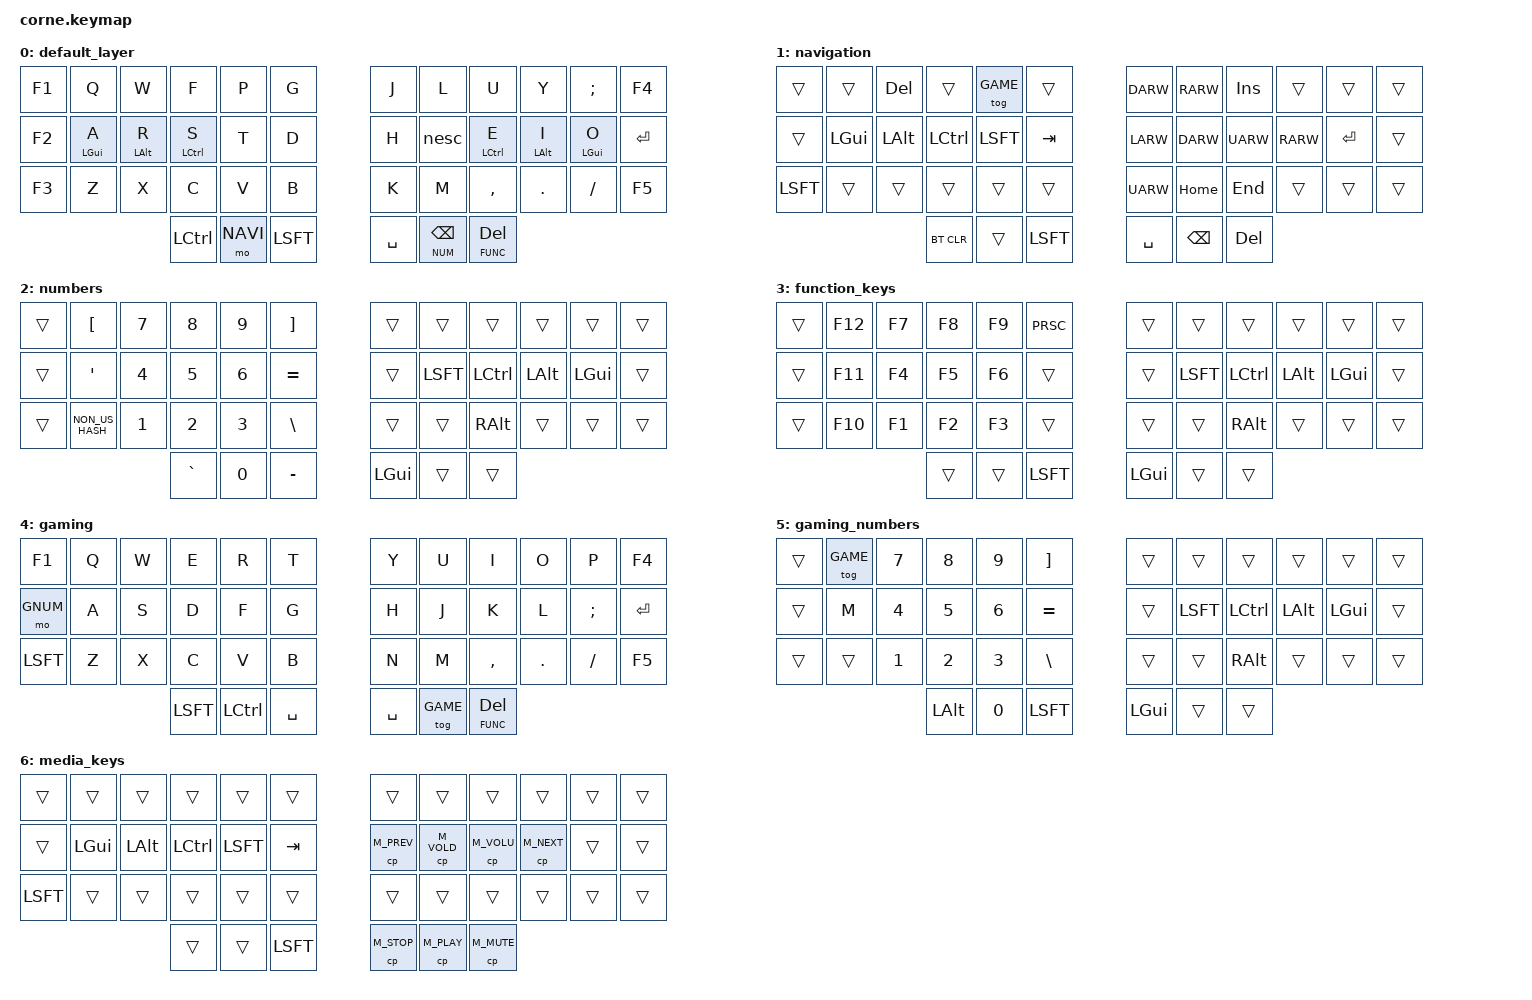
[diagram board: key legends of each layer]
/*
 * Seth's Corne/crkbd keymap using ZMK
 * Based off of miryoku
 * https://github.com/sethdwoolley/zmk-config
 *
 */

#include <behaviors.dtsi>
#include <dt-bindings/zmk/keys.h>
#include <dt-bindings/zmk/bt.h>

// Layer Definition
#define DEFAULT 0
#define NAVI 1
#define NUM 2
#define FUNC 3
#define GAME 4
#define GNUM 5
#define MEDIA 6
#define NONE 0

/ {
//  Homerow mod held behaviour 
    behaviors {
        hm: homerow_mods {
            compatible = "zmk,behavior-hold-tap";
            label = "HOMEROW_MODS";
            #binding-cells = <2>;
            tapping_term_ms = <120>;
            flavor = "tap-preferred";
            bindings = <&kp>, <&kp>;
        };
        // Double tap N for ESC
        nesc: tap_dance_0 {
            compatible = "zmk,behavior-tap-dance";
            label = "N_FOR_ESC";
            #binding-cells = <0>;
            tapping-term-ms = <200>;
            bindings = <&kp N>, <&kp ESC>;
        };
    };


// HELD on each layer shows which key(s) are being held to access that layer
// #'s signify the split

    keymap {
        compatible = "zmk,keymap";

        default_layer {
// ---------------------------------------------------------------------------------------------------------
// |  F1 |   Q    |   W    |    F   |    P    |  G   | # |  J  |      L      |      U      |    Y   |   ;    |  F4   |
// |  F2 | A/LGUI | R/LALT | S/LCTL |    T    |  D   | # |  H  |    N/ESC    |   E/LCTRL   | I/LALT | O/LGUI | ENTER |
// |  F3 |   Z    |   X    |    C   |    V    |  B   | # |  N  |      M      |      ,      |    .   |   /    |  F5   |
//                         |  LCTL  | MO NAVI | LSFT | # | SPC | LT NUM BKSP | LT FUNC DEL |

            bindings = <
&kp F1  &kp Q        &kp W      &kp F      &kp P      &kp G         &kp J    &kp L        &kp U         &kp Y        &kp SCLN     &kp F4
&kp F2  &hm LGUI A   &hm LALT R &hm LCTL S &kp T      &kp D         &kp H    &nesc        &hm LCTL E    &hm LALT I   &hm LGUI O   &kp RET
&kp F3  &kp Z        &kp X      &kp C      &kp V      &kp B         &kp K    &kp M        &kp CMMA      &kp DOT      &kp FSLH     &kp F5
                                &kp LCTL   &mo NAVI   &kp LSFT      &kp SPC  &lt NUM BKSP &lt FUNC DEL
            >;
        };

        navigation {
// ---------------------------------------------------------------------------------------
// |     |      |      |  DEL  |      | TOGGLE GAME | # | DWN | RGT  |  INSERT |       |     |     |
// |     | LGUI | LALT | LCTL  | LSFT |     TAB     | # | LF  | DWN  |   UP    |  RGT  | ENT |     |
// |     |      | RALT |       |      |             | # | UP  | HOME |   END   |       |     |     |
//                     | BTCLR | HELD |     LSFT    | # | SPC | BKSP |   DEL   |

            bindings = <
&trans     &trans    &kp DEL    &trans      &tog GAME  &trans        &kp DARW  &kp RARW  &kp INS   &trans    &trans    &trans    
&trans     &kp LGUI  &kp LALT   &kp LCTL    &kp LSFT   &kp TAB       &kp LARW  &kp DARW  &kp UARW  &kp RARW  &kp RET   &trans
&kp LSFT   &trans    &trans     &trans      &trans     &trans        &kp UARW  &kp HOME  &kp END   &trans    &trans    &trans
                                &bt BT_CLR  &trans     &kp LSFT      &kp SPC   &kp BKSP  &kp DEL
            >;  
        };

        numbers {
// ---------------------------------------------------------------------------------
// |     |  [{ |  7  |  8  |  9  |  ]}  | # |     |      |      |      |      |     |
// |     |  '@ |  4  |  5  |  6  |  =+  | # |     |  SFT | CTRL | LALT | LGUI |     |
// |     |  #~ |  1  |  2  |  3  |  \|  | # |     |      |      | RALT |      |     | 
//                   |  `  |  0  |  -_  | # | WIN | HELD |      |

            bindings = <
&trans    &kp LBKT        &kp N7    &kp N8    &kp N9    &kp RBKT      &trans    &trans   &trans    &trans    &trans    &trans    
&trans    &kp QUOT        &kp N4    &kp N5    &kp N6    &kp EQL       &trans    &kp LSFT  &kp LCTL &kp LALT  &kp LGUI  &trans
&trans    &kp NON_US_HASH &kp N1    &kp N2    &kp N3    &kp BSLH      &trans    &trans   &kp RALT  &trans    &trans    &trans    
                                    &kp GRAVE &kp N0    &kp MINUS     &kp LGUI  &trans   &trans
            >;
        };

        function_keys {
// -------------------------------------------------------------------------------------
// |     |  F12 |  F7  |  F8  |  F9  | PTSRN | # |     |     |      |      |      |     |
// |     |  F11 |  F4  |  F5  |  F6  | SCRLL | # |     | SFT | CTRL | LALT | LGUI |     |
// |     |  F10 |  F1  |  F2  |  F3  | PAUSE | # |     |     |      | RALT |      |     | 
//                     |      |      |  TAB  | # | WIN |     | HELD |

            bindings = <
&trans    &kp F12    &kp F7    &kp F8    &kp F9    &kp PRSC      &trans     &trans   &trans    &trans    &trans    &trans    
&trans    &kp F11    &kp F4    &kp F5    &kp F6    &trans        &trans     &kp LSFT &kp LCTL  &kp LALT  &kp LGUI  &trans
&trans    &kp F10    &kp F1    &kp F2    &kp F3    &trans        &trans     &trans   &kp RALT  &trans    &trans    &trans    
                               &trans    &trans    &kp LSFT      &kp LGUI   &trans   &trans
            >;
        };        

        gaming {
// ---------------------------------------------------------------------------------------------------------
// |  F1   |   Q   |   W   |   E   |    R    |   T   | # |   Y   |      U      |      I      |    O   |   P   |  F4   |
// |  NUMS |   A   |   S   |   D   |    F    |   G   | # |   H   |      J      |      K      |    L   |   ;   | ENTER |
// |  LSFT |   Z   |   X   |   C   |    V    |   B   | # |   N   |      M      |      ,      |    .   |   /   |  F5   |
//                         | LCTL  |   LCTL  |  SPC  | # |  SPC  | TOGGLE GAME | LT FUNC DEL |

            bindings = <
&kp F1    &kp Q    &kp W    &kp E      &kp R     &kp T        &kp Y    &kp U      &kp I     &kp O    &kp P      &kp F4
&mo GNUM  &kp A    &kp S    &kp D      &kp F     &kp G        &kp H    &kp J      &kp K     &kp L    &kp SCLN   &kp RET
&kp LSFT  &kp Z    &kp X    &kp C      &kp V     &kp B        &kp N    &kp M      &kp CMMA  &kp DOT  &kp FSLH   &kp F5
                            &kp LSFT   &kp LCTL  &kp SPC      &kp SPC  &tog GAME  &lt FUNC DEL
            >;
        };

        gaming_numbers {
// ---------------------------------------------------------------------------------
// |      |  TOGGLE GAME |  7  |  8   |  9  |   ]}  | # |     |      |      |      |      |     |
// | HELD |       M      |  4  |  5   |  6  |   =+  | # |  LF | DWN  |  UP  | RGT  | ENT  |     |
// |      |       #~     |  1  |  2   |  3  |   \|  | # |     |      |      |      |      |     | 
//                             | LALT |  0  |  LSFT | # | WIN |      |      |

            bindings = <
&trans    &tog GAME &kp N7    &kp N8    &kp N9    &kp RBKT      &trans    &trans   &trans    &trans    &trans    &trans    
&trans    &kp M     &kp N4    &kp N5    &kp N6    &kp EQL       &trans    &kp LSFT  &kp LCTL &kp LALT  &kp LGUI  &trans
&trans    &trans    &kp N1    &kp N2    &kp N3    &kp BSLH      &trans    &trans   &kp RALT  &trans    &trans    &trans    
                              &kp LALT  &kp N0    &kp LSFT      &kp LGUI  &trans   &trans
            >;
        };

        media_keys { // UNUSED
// -------------------------------------------------------------------------------------
// |     |      |      |      |      |      | # |      |      |      |      |     |     |
// |     | LGUI | LALT | LCTL | LSFT | TAB  | # | PREV | VOLD | VOLU | NEXT |     |     |
// |     |      | RALT |      |      |      | # |      |      |      |      |     |     |
//                     | HELD |      | LSFT | # | STOP | PLAY | MUTE |

            bindings = <
&trans     &trans    &trans     &trans     &trans     &trans        &trans     &trans     &trans     &trans     &trans    &trans    
&trans     &kp LGUI  &kp LALT   &kp LCTL   &kp LSFT   &kp TAB       &cp M_PREV &cp M_VOLD &cp M_VOLU &cp M_NEXT &trans    &trans
&kp LSFT   &trans    &trans     &trans     &trans     &trans        &trans     &trans     &trans     &trans     &trans    &trans
                                &trans     &trans     &kp LSFT      &cp M_STOP &cp M_PLAY &cp M_MUTE
            >;
        };
    };
};

